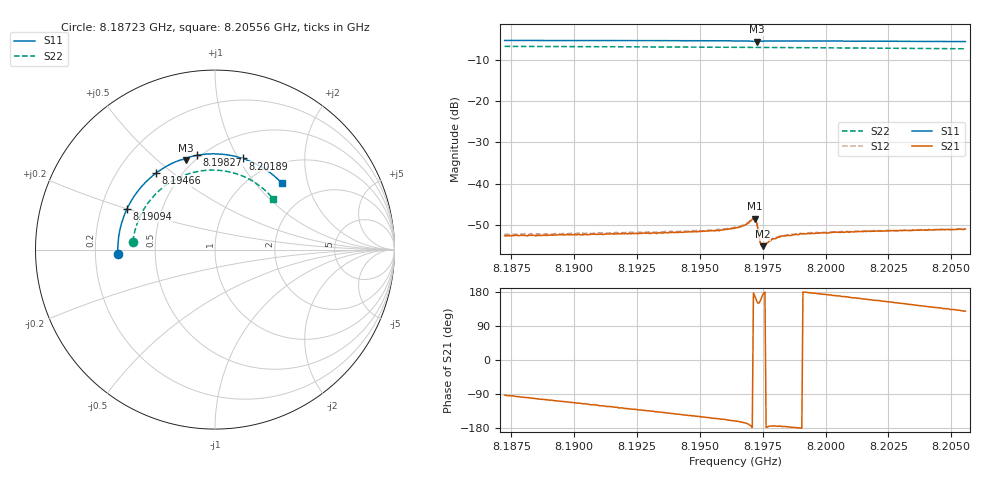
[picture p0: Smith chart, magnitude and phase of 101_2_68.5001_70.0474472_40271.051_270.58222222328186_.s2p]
#  HZ  S  RI  R  50.00
! Rohde & Schwarz Vector Network Analyzer
! Rohde-Schwarz,ZNB20-2Port,1311601062101988,3.16
! Created: UTC 3/20/2024, 5:08:12 PM
! freq[Hz]  re:S11  im:S11  re:S21  im:S21  re:S12  im:S12  re:S22  im:S22
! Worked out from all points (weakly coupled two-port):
!   401 points, 8.18723 GHz to 8.20556 GHz, reference 50 ohm
!   highest |S21| = -48.47 dB at 8.19718 GHz (marker M1); lowest = -55.2 dB at 8.1975 GHz (marker M2)
!   lowest |S11| = -5.6 dB at 8.19727 GHz (marker M3), VSWR 3.20, Z = 22.7 + j31.1 ohm
!   |S11| at or under -10 dB: nowhere
!   |S22| runs from -7.3 to -6.8 dB; largest |S21 - S12| = 0.00019
!   S11 on the Smith chart (normalised r, x): 8.18723 GHz: 0.30, -0.02; 8.19094 GHz: 0.31, +0.20; 8.19466 GHz: 0.37, +0.44; 8.19827 GHz: 0.48, +0.71; 8.20189 GHz: 0.74, +1.04; 8.20556 GHz: 1.36, +1.39
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8.187232e9  -0.5414 -0.0265  -0.000103 -0.00234  -0.000161 -0.00243  -0.4573 0.0448
8.18879e9  -0.535 0.0822  -0.000572 -0.00229  -0.000671 -0.00237  -0.4392 0.1292
8.190302e9  -0.5082 0.1845  -0.00102 -0.00218  -0.00111 -0.00225  -0.4068 0.2066
8.190944e9  -0.4909 0.226  -0.00119 -0.00212  -0.00132 -0.00214  -0.3885 0.2373
8.193372e9  -0.3953 0.3663  -0.00186 -0.00172  -0.00196 -0.0017  -0.2995 0.3389
8.194655e9  -0.328 0.4266  -0.00219 -0.00143  -0.00229 -0.00136  -0.2412 0.3804
8.195663e9  -0.2683 0.4654  -0.00242 -0.00118  -0.00254 -0.00112  -0.1909 0.4063
8.196396e9  -0.2211 0.4886  -0.00273 -0.000935  -0.00284 -0.000836  -0.1525 0.4208
8.196809e9  -0.1924 0.4992  -0.00308 -0.000758  -0.00318 -0.000647  -0.1301 0.4277
8.197084e9  -0.1708 0.5024  -0.00368 -0.000112  -0.00376 -3.34e-07  -0.115 0.4315
8.197175e9  -0.1642 0.5003  -0.00372 0.000637  -0.00375 0.000796  -0.11 0.4325
8.197221e9  -0.1625 0.4984  -0.00348 0.00108  -0.0035 0.00127  -0.1075 0.4329
8.197267e9  -0.1627 0.4976  -0.00294 0.00141  -0.00293 0.00155  -0.1051 0.4333
8.197404e9  -0.161 0.5043  -0.00175 0.000762  -0.00177 0.000793  -0.0976 0.4352
8.197496e9  -0.155 0.5092  -0.00173 0.000248  -0.00174 0.000359  -0.0926 0.4361
8.197588e9  -0.1484 0.5126  -0.00182 2.7e-05  -0.00182 9.8e-05  -0.0875 0.437
8.197863e9  -0.1282 0.5193  -0.0021 -0.000214  -0.00213 -0.000134  -0.072 0.4394
8.198275e9  -0.0987 0.5256  -0.00233 -0.000165  -0.00232 -0.000119  -0.0487 0.4418
8.199466e9  -0.0141 0.5336  -0.0025 0.000149  -0.00252 0.00026  0.0188 0.4421
8.201895e9  0.155 0.5077  -0.00246 0.000984  -0.00245 0.0011  0.1532 0.41
8.202536e9  0.1974 0.4917  -0.00239 0.0012  -0.00236 0.00131  0.1866 0.3945
8.20556e9  0.3723 0.3705  -0.00177 0.00219  -0.00167 0.00223  0.3223 0.2846
